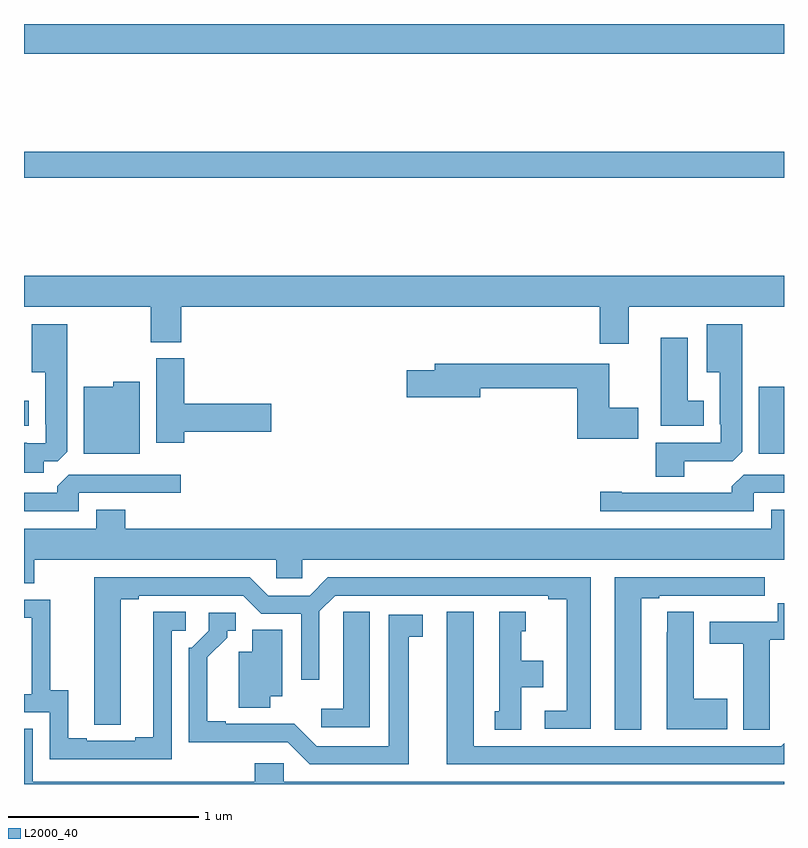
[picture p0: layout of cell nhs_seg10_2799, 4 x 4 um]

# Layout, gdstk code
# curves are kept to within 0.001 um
import gdstk
lib = gdstk.Library(unit=1e-6, precision=1e-09)
def R(c, l, rs):  # rectangles x0, y0, x1, y1
    for r in rs: c.add(gdstk.rectangle(r[:2], r[2:], *l))
def P(c, l, *ps):  # polygons
    for p in ps: c.add(gdstk.Polygon(p, *l))
L2000_40 = (2000, 40)

nhs_seg10_2799 = lib.new_cell('nhs_seg10_2799')
R(nhs_seg10_2799, L2000_40, [(266.867,1270.238,267,1270.591), (263,1270.385,263.026,1270.516), (263,1271.692,267,1271.828), (263,1272.344,267,1272.5)])
P(nhs_seg10_2799, L2000_40, [(266.182,1271.012),(267,1271.012),(267,1271.176),(263,1271.176),(263,1271.012),(263.668,1271.012),(263.668,1270.825),(263.828,1270.825),(263.828,1271.012),(266.03,1271.012),(266.03,1270.818),(266.182,1270.818)],
  [(266.476,1270.2),(266.73,1270.2),(266.779,1270.249),(266.779,1270.921),(266.594,1270.921),(266.594,1270.667),(266.663,1270.667),(266.663,1270.393),(266.667,1270.393),(266.667,1270.296),(266.324,1270.296),(266.324,1270.117),(266.476,1270.117)],
  [(263.104,1270.2),(263.178,1270.2),(263.227,1270.249),(263.227,1270.921),(263.042,1270.921),(263.042,1270.667),(263.111,1270.667),(263.111,1270.393),(263.115,1270.393),(263.115,1270.293),(263.015,1270.293),(263.015,1270.297),(263,1270.297),(263,1270.139),(263.104,1270.139)],
  [(266.578,1270.516),(266.494,1270.516),(266.494,1270.849),(266.351,1270.849),(266.351,1270.385),(266.578,1270.385)],
  [(263.843,1270.355),(264.301,1270.355),(264.301,1270.502),(263.843,1270.502),(263.843,1270.74),(263.696,1270.74),(263.696,1270.296),(263.843,1270.296)],
  [(266.233,1270.479),(266.08,1270.479),(266.08,1270.711),(265.163,1270.711),(265.163,1270.677),(265.014,1270.677),(265.014,1270.535),(265.402,1270.535),(265.402,1270.582),(265.913,1270.582),(265.913,1270.316),(266.233,1270.316)],
  [(263.608,1270.618),(263.469,1270.618),(263.469,1270.591),(263.315,1270.591),(263.315,1270.238),(263.608,1270.238)],
  [(266.841,1270.032),(267,1270.032),(267,1270.128),(266.787,1270.128),(266.726,1270.066),(266.726,1270.032),(266.146,1270.032),(266.146,1270.037),(266.034,1270.037),(266.034,1269.936),(266.841,1269.936)],
  [(263.289,1270.032),(263.824,1270.032),(263.824,1270.128),(263.235,1270.128),(263.174,1270.066),(263.174,1270.032),(263,1270.032),(263,1269.936),(263.289,1269.936)],
  [(263.055,1269.68),(264.327,1269.68),(264.327,1269.582),(264.465,1269.582),(264.465,1269.68),(267,1269.68),(267,1269.943),(266.933,1269.943),(266.933,1269.844),(263.534,1269.844),(263.534,1269.943),(263.381,1269.943),(263.381,1269.844),(263,1269.844),(263,1269.556),(263.055,1269.556)],
  [(265.984,1269.588),(264.599,1269.588),(264.503,1269.492),(264.285,1269.492),(264.189,1269.588),(263.369,1269.588),(263.37,1268.812),(263.509,1268.812),(263.509,1269.472),(263.605,1269.472),(263.605,1269.492),(264.153,1269.492),(264.249,1269.396),(264.459,1269.396),(264.459,1269.048),(264.555,1269.048),(264.555,1269.408),(264.639,1269.492),(265.76,1269.492),(265.76,1269.472),(265.856,1269.472),(265.856,1268.886),(265.74,1268.886),(265.74,1268.79),(265.984,1268.79)],
  [(266.248,1269.477),(266.344,1269.477),(266.344,1269.492),(266.62,1269.492),(266.62,1269.491),(266.786,1269.491),(266.786,1269.492),(266.899,1269.492),(266.899,1269.588),(266.108,1269.588),(266.108,1268.785),(266.248,1268.785)],
  [(263.778,1269.306),(263.851,1269.306),(263.851,1269.407),(263.681,1269.407),(263.681,1268.747),(263.585,1268.747),(263.585,1268.727),(263.329,1268.727),(263.329,1268.742),(263.233,1268.742),(263.233,1268.993),(263.139,1268.993),(263.139,1269.471),(263,1269.471),(263,1269.375),(263.039,1269.375),(263.039,1269.374),(263.04,1269.374),(263.04,1268.973),(263,1268.973),(263,1268.877),(263.136,1268.877),(263.136,1268.631),(263.778,1268.631)],
  [(266.925,1268.896),(266.926,1268.896),(266.926,1269.258),(267,1269.258),(267,1269.451),(266.968,1269.451),(266.968,1269.354),(266.609,1269.354),(266.609,1269.238),(266.786,1269.238),(266.786,1268.785),(266.925,1268.785)],
  [(264.82,1269.407),(264.681,1269.407),(264.681,1269.299),(264.68,1269.299),(264.68,1268.896),(264.564,1268.896),(264.564,1268.799),(264.82,1268.799)],
  [(266.701,1268.949),(266.524,1268.949),(266.524,1269.407),(266.385,1269.407),(266.385,1269.299),(266.384,1269.299),(266.384,1268.789),(266.701,1268.789)],
  [(265.618,1269.008),(265.732,1269.008),(265.732,1269.148),(265.618,1269.148),(265.618,1269.303),(265.642,1269.303),(265.642,1269.406),(265.502,1269.406),(265.502,1268.883),(265.478,1268.883),(265.478,1268.785),(265.618,1268.785)],
  [(267,1268.715),(266.985,1268.7),(265.366,1268.7),(265.366,1269.406),(265.226,1269.406),(265.226,1268.604),(267,1268.604)],
  [(265.024,1269.274),(265.099,1269.274),(265.099,1269.39),(264.92,1269.39),(264.92,1268.7),(264.54,1268.7),(264.422,1268.818),(264.061,1268.817),(264.061,1268.83),(263.965,1268.83),(263.965,1269.166),(264.07,1269.271),(264.07,1269.306),(264.115,1269.306),(264.115,1269.402),(263.973,1269.402),(263.973,1269.306),(263.883,1269.216),(263.868,1269.216),(263.868,1268.72),(264.387,1268.721),(264.504,1268.604),(265.024,1268.604)],
  [(264.295,1268.963),(264.358,1268.963),(264.358,1269.311),(264.2,1269.311),(264.2,1269.196),(264.131,1269.196),(264.131,1268.902),(264.295,1268.902)],
  [(267,1268.512),(264.366,1268.512),(264.366,1268.61),(264.215,1268.61),(264.215,1268.512),(263.047,1268.512),(263.047,1268.792),(263,1268.792),(263,1268.5),(267,1268.5)])

lib.write_gds('nhs_seg10_2799.gds')
